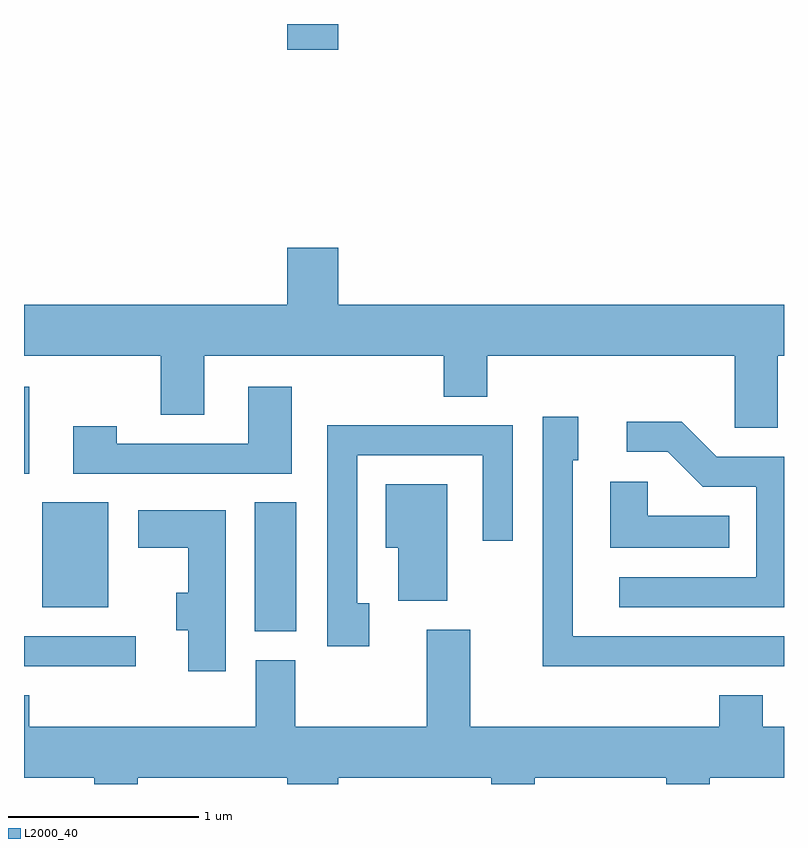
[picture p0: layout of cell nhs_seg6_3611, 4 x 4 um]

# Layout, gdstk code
import gdstk
lib = gdstk.Library(unit=1e-6, precision=1e-09)
def R(c, l, rs):  # rectangles x0, y0, x1, y1
    for r in rs: c.add(gdstk.rectangle(r[:2], r[2:], *l))
def P(c, l, *ps):  # polygons
    for p in ps: c.add(gdstk.Polygon(p, *l))
L2000_40 = (2000, 40)

nhs_seg6_3611 = lib.new_cell('nhs_seg6_3611')
R(nhs_seg6_3611, L2000_40, [(293.611,1612.781,294.198,1612.939), (294.826,1612.966,295.044,1613.644), (293.706,1613.091,294.054,1613.644), (293.611,1613.796,293.639,1614.254), (294.996,1616.026,295.264,1616.162)])
P(nhs_seg6_3611, L2000_40, [(297.579,1614.416),(297.611,1614.416),(297.611,1614.684),(295.264,1614.684),(295.264,1614.984),(294.996,1614.984),(294.996,1614.684),(293.611,1614.684),(293.611,1614.416),(294.331,1614.416),(294.331,1614.106),(294.559,1614.106),(294.559,1614.416),(295.821,1614.416),(295.821,1614.201),(296.049,1614.201),(296.049,1614.416),(297.351,1614.416),(297.351,1614.036),(297.579,1614.036)],
  [(295.019,1614.254),(294.791,1614.254),(294.791,1613.954),(294.099,1613.954),(294.099,1614.044),(293.871,1614.044),(293.871,1613.796),(295.019,1613.796)],
  [(297.611,1612.939),(296.499,1612.939),(296.499,1613.866),(296.529,1613.866),(296.529,1614.094),(296.341,1614.094),(296.341,1612.781),(297.611,1612.781)],
  [(297.611,1613.884),(297.257,1613.884),(297.072,1614.069),(296.783,1614.069),(296.783,1613.911),(296.999,1613.911),(297.184,1613.726),(297.466,1613.726),(297.466,1613.249),(296.743,1613.249),(296.743,1613.091),(297.611,1613.091)],
  [(295.429,1613.114),(295.364,1613.114),(295.364,1613.891),(296.026,1613.891),(296.026,1613.443),(296.184,1613.443),(296.184,1614.049),(295.206,1614.049),(295.206,1612.886),(295.429,1612.886)],
  [(297.323,1613.574),(296.894,1613.574),(296.894,1613.754),(296.696,1613.754),(296.696,1613.406),(297.323,1613.406)],
  [(295.839,1613.739),(295.516,1613.739),(295.516,1613.406),(295.581,1613.406),(295.581,1613.126),(295.839,1613.126)],
  [(294.674,1613.604),(294.211,1613.604),(294.211,1613.406),(294.476,1613.406),(294.476,1613.169),(294.411,1613.169),(294.411,1612.971),(294.476,1612.971),(294.476,1612.756),(294.674,1612.756)],
  [(295.959,1612.974),(295.731,1612.974),(295.731,1612.464),(295.039,1612.464),(295.039,1612.814),(294.831,1612.814),(294.831,1612.464),(293.639,1612.464),(293.639,1612.629),(293.611,1612.629),(293.611,1612.196),(293.981,1612.196),(293.981,1612.162),(294.209,1612.162),(294.209,1612.196),(294.996,1612.196),(294.996,1612.162),(295.264,1612.162),(295.264,1612.196),(296.071,1612.196),(296.071,1612.162),(296.299,1612.162),(296.299,1612.196),(296.991,1612.196),(296.991,1612.162),(297.219,1612.162),(297.219,1612.196),(297.611,1612.196),(297.611,1612.464),(297.499,1612.464),(297.499,1612.629),(297.271,1612.629),(297.271,1612.464),(295.959,1612.464)])

lib.write_gds('nhs_seg6_3611.gds')
